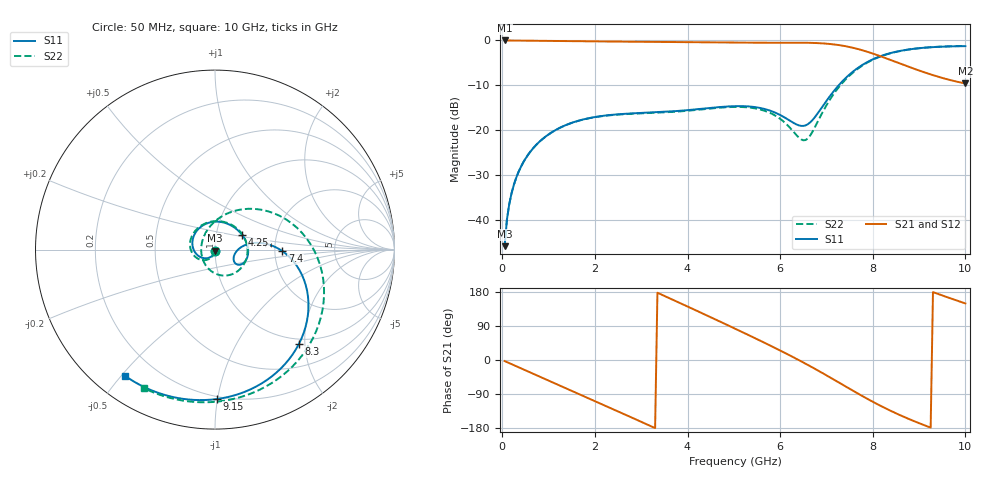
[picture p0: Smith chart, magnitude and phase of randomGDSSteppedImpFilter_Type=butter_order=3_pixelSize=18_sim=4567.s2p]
! freq	dB(S11)	phase(S11)	dB(S12)	phase(S12)
!  dB(S21)	phase(S21)	dB(S22)	phase(S22)
!S-par simulation data
#  GHz  S  DB  R 50
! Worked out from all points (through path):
!   200 points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, 50 MHz to 10 GHz, reference 50 ohm
!   highest |S21| = 0.00 dB at 50 MHz (marker M1); lowest = -9.6 dB at 10 GHz (marker M2)
!   group delay of S21, straight-line fit = 164 ps
!   lowest |S11| = -45.8 dB at 50 MHz (marker M3), VSWR 1.01, Z = 50 - j0.512 ohm
!   |S11| at or under -10 dB: start of sweep to 7.263 GHz
!   |S22| runs from -45.8 to -1.2 dB; largest |S21 - S12| = 0
!   S11 on the Smith chart (normalised r, x): 50 MHz: 1.00, -0.01; 4.25 GHz: 1.34, +0.22; 7.4 GHz: 2.20, -0.04; 8.3 GHz: 0.90, -1.88; 9.15 GHz: 0.18, -0.99; 10 GHz: 0.09, -0.51
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0.05  -45.81 -92.3  -0.00 -2.8  -0.00 -2.8  -45.77 -91.5
0.1  -39.90 -95.2  -0.01 -5.5  -0.01 -5.5  -39.89 -93.9
0.2  -34.03 -101.7  -0.02 -11.0  -0.02 -11.0  -34.02 -99.3
0.5  -26.34 -120.8  -0.05 -27.3  -0.05 -27.3  -26.32 -114.7
1.15  -19.96 -160.7  -0.12 -62.5  -0.12 -62.5  -19.96 -146.4
1.75  -17.58 162.7  -0.19 -94.9  -0.19 -94.9  -17.61 -175.2
2.2  -16.75 135.5  -0.23 -119.4  -0.23 -119.4  -16.80 163.1
2.65  -16.34 108.8  -0.27 -143.9  -0.27 -143.9  -16.41 140.6
3.4  -15.95 67.5  -0.34 174.7  -0.34 174.7  -16.08 99.3
4.25  -15.28 27.7  -0.42 127.1  -0.42 127.1  -15.41 44.8
5.05  -14.63 -5.0  -0.50 81.3  -0.50 81.3  -14.80 -11.4
5.5  -14.91 -21.7  -0.51 55.1  -0.51 55.1  -15.21 -44.9
6  -16.60 -33.9  -0.50 25.1  -0.50 25.1  -17.45 -88.8
6.5  -19.04 -16.0  -0.51 -6.5  -0.51 -6.5  -22.23 -175.7
6.7  -17.71 0.7  -0.55 -19.8  -0.55 -19.8  -20.30 129.5
7.1  -12.05 8.7  -0.81 -47.5  -0.81 -47.5  -12.77 66.3
7.4  -8.51 -1.3  -1.26 -68.8  -1.26 -68.8  -8.83 36.4
7.9  -4.72 -26.9  -2.58 -103.6  -2.58 -103.6  -4.83 -4.7
8.3  -3.05 -48.4  -4.02 -129.0  -4.02 -129.0  -3.10 -32.5
8.35  -2.90 -51.0  -4.21 -132.0  -4.21 -132.0  -2.95 -35.7
9.15  -1.59 -89.4  -7.23 -173.9  -7.23 -173.9  -1.59 -79.6
10  -1.27 -125.7  -9.58 149.2  -9.58 149.2  -1.23 -116.9
